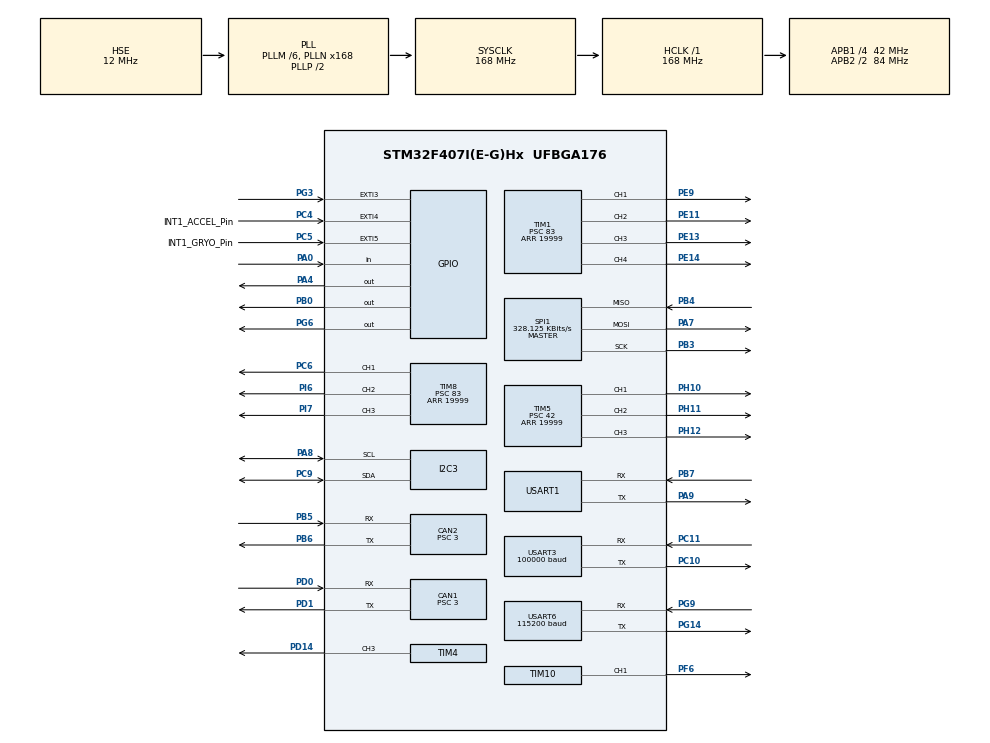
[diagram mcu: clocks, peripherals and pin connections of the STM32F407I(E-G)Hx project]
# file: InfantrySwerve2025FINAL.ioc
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CAN1.BS1=CAN_BS1_10TQ
CAN1.BS2=CAN_BS2_3TQ
CAN1.CalculateBaudRate=1000000
CAN1.CalculateTimeBit=1000
CAN1.CalculateTimeQuantum=71.42857142857143
CAN1.Prescaler=3
CAN2.BS1=CAN_BS1_10TQ
CAN2.BS2=CAN_BS2_3TQ
CAN2.CalculateBaudRate=1000000
CAN2.CalculateTimeBit=1000
CAN2.CalculateTimeQuantum=71.42857142857143
CAN2.Prescaler=3
Dma.Request0=USART3_RX
Dma.Request1=USART1_RX
Dma.Request2=USART6_RX
Dma.USART1_RX.1.Direction=DMA_PERIPH_TO_MEMORY
Dma.USART1_RX.1.FIFOMode=DMA_FIFOMODE_DISABLE
Dma.USART1_RX.1.Instance=DMA2_Stream2
Dma.USART1_RX.1.MemDataAlignment=DMA_MDATAALIGN_BYTE
Dma.USART1_RX.1.MemInc=DMA_MINC_ENABLE
Dma.USART1_RX.1.Mode=DMA_NORMAL
Dma.USART1_RX.1.PeriphDataAlignment=DMA_PDATAALIGN_BYTE
Dma.USART1_RX.1.PeriphInc=DMA_PINC_DISABLE
Dma.USART1_RX.1.Priority=DMA_PRIORITY_VERY_HIGH
Dma.USART3_RX.0.Direction=DMA_PERIPH_TO_MEMORY
Dma.USART3_RX.0.FIFOMode=DMA_FIFOMODE_DISABLE
Dma.USART3_RX.0.Instance=DMA1_Stream1
Dma.USART3_RX.0.MemDataAlignment=DMA_MDATAALIGN_BYTE
Dma.USART3_RX.0.MemInc=DMA_MINC_ENABLE
Dma.USART3_RX.0.Mode=DMA_CIRCULAR
Dma.USART3_RX.0.PeriphDataAlignment=DMA_PDATAALIGN_BYTE
Dma.USART3_RX.0.PeriphInc=DMA_PINC_DISABLE
Dma.USART3_RX.0.Priority=DMA_PRIORITY_VERY_HIGH
Dma.USART6_RX.2.Direction=DMA_PERIPH_TO_MEMORY
Dma.USART6_RX.2.FIFOMode=DMA_FIFOMODE_DISABLE
Dma.USART6_RX.2.Instance=DMA2_Stream1
Dma.USART6_RX.2.MemDataAlignment=DMA_MDATAALIGN_BYTE
Dma.USART6_RX.2.MemInc=DMA_MINC_ENABLE
Dma.USART6_RX.2.Mode=DMA_NORMAL
Dma.USART6_RX.2.PeriphDataAlignment=DMA_PDATAALIGN_BYTE
Dma.USART6_RX.2.PeriphInc=DMA_PINC_DISABLE
Dma.USART6_RX.2.Priority=DMA_PRIORITY_VERY_HIGH
FREERTOS.INCLUDE_pcTaskGetTaskName=1
FREERTOS.INCLUDE_xTaskGetHandle=1
FREERTOS.Tasks01=FlowManager,48,128,StartFlowManager,Default,NULL,Dynamic,NULL,NULL;IMUtempPIDtask,24,512,imu_temp_control_task,As weak,NULL,Dynamic,NULL,NULL;ChassisTask,24,1024,StartChassisTask,Default,NULL,Dynamic,NULL,NULL;SentryAutonomy,24,128,StartSentryAutonomy,Default,NULL,Dynamic,NULL,NULL
FREERTOS.configUSE_NEWLIB_REENTRANT=1
I2C3.I2C_Mode=I2C_Fast
Mcu.Family=STM32F4
Mcu.Name=STM32F407I(E-G)Hx
Mcu.Package=UFBGA176
NVIC.CAN1_RX0_IRQn=true\:5\:0\:false\:false\:true\:true\:true\:true\:true
NVIC.CAN2_RX0_IRQn=true\:5\:0\:false\:false\:true\:true\:true\:true\:true
NVIC.DMA1_Stream1_IRQn=true\:5\:0\:false\:false\:true\:true\:false\:true\:true
NVIC.DMA2_Stream1_IRQn=true\:5\:0\:false\:false\:true\:true\:false\:true\:true
NVIC.DMA2_Stream2_IRQn=true\:5\:0\:false\:false\:true\:true\:false\:true\:true
NVIC.EXTI3_IRQn=true\:5\:0\:false\:false\:true\:true\:true\:true\:true
NVIC.EXTI4_IRQn=true\:5\:0\:false\:false\:true\:true\:true\:true\:true
NVIC.PriorityGroup=NVIC_PRIORITYGROUP_4
NVIC.USART1_IRQn=true\:5\:0\:false\:false\:true\:true\:true\:true\:true
NVIC.USART6_IRQn=true\:5\:0\:false\:false\:true\:true\:true\:true\:true
PA0-WKUP.Signal=GPIO_Input
PA13.Mode=Serial_Wire
PA13.Signal=SYS_JTMS-SWDIO
PA14.Mode=Serial_Wire
PA14.Signal=SYS_JTCK-SWCLK
PA4.Signal=GPIO_Output
PA7.Mode=Full_Duplex_Master
PA7.Signal=SPI1_MOSI
PA8.Mode=I2C
PA8.Signal=I2C3_SCL
PA9.Mode=Asynchronous
PA9.Signal=USART1_TX
PB0.Signal=GPIO_Output
PB3.Mode=Full_Duplex_Master
PB3.Signal=SPI1_SCK
PB4.Mode=Full_Duplex_Master
PB4.Signal=SPI1_MISO
PB5.Mode=CAN_Activate
PB5.Signal=CAN2_RX
PB6.Mode=CAN_Activate
PB6.Signal=CAN2_TX
PB7.Mode=Asynchronous
PB7.Signal=USART1_RX
PC10.Mode=Asynchronous
PC10.Signal=USART3_TX
PC11.Mode=Asynchronous
PC11.Signal=USART3_RX
PC4.GPIO_Label=INT1_ACCEL_Pin
PC4.Signal=GPXTI4
PC5.GPIO_Label=INT1_GRYO_Pin
PC5.Signal=GPXTI5
PC6.Signal=S_TIM8_CH1
PC9.Mode=I2C
PC9.Signal=I2C3_SDA
PD0.Mode=CAN_Activate
PD0.Signal=CAN1_RX
PD1.Mode=CAN_Activate
PD1.Signal=CAN1_TX
PD14.Signal=S_TIM4_CH3
PE11.Signal=S_TIM1_CH2
PE13.Signal=S_TIM1_CH3
PE14.Signal=S_TIM1_CH4
PE9.Signal=S_TIM1_CH1
PF6.GPIO_PuPd=GPIO_PULLUP
PF6.GPIO_Speed=GPIO_SPEED_FREQ_HIGH
PF6.Signal=S_TIM10_CH1
PG14.Mode=Asynchronous
PG14.Signal=USART6_TX
PG3.Signal=GPXTI3
PG6.Signal=GPIO_Output
PG9.Mode=Asynchronous
PG9.Signal=USART6_RX
PH0-OSC_IN.Mode=HSE-External-Oscillator
PH0-OSC_IN.Signal=RCC_OSC_IN
PH1-OSC_OUT.Mode=HSE-External-Oscillator
PH1-OSC_OUT.Signal=RCC_OSC_OUT
PH10.Signal=S_TIM5_CH1
PH11.Signal=S_TIM5_CH2
PH12.Signal=S_TIM5_CH3
PI6.Signal=S_TIM8_CH2
PI7.Signal=S_TIM8_CH3
ProjectManager.HeapSize=0x200
ProjectManager.StackSize=0x400
ProjectManager.TargetToolchain=STM32CubeIDE
RCC.48MHZClocksFreq_Value=84000000
RCC.AHBFreq_Value=168000000
RCC.APB1CLKDivider=RCC_HCLK_DIV4
RCC.APB1Freq_Value=42000000
RCC.APB1TimFreq_Value=84000000
RCC.APB2CLKDivider=RCC_HCLK_DIV2
RCC.APB2Freq_Value=84000000
RCC.APB2TimFreq_Value=168000000
RCC.CortexFreq_Value=168000000
RCC.EnbaleCSS=true
RCC.HCLKFreq_Value=168000000
RCC.HSE_VALUE=12000000
RCC.HSI_VALUE=16000000
RCC.LSE_VALUE=32768
RCC.PLLM=6
RCC.PLLN=168
RCC.PLLSourceVirtual=RCC_PLLSOURCE_HSE
RCC.SYSCLKFreq_VALUE=168000000
RCC.SYSCLKSource=RCC_SYSCLKSOURCE_PLLCLK
RCC.VCOOutputFreq_Value=336000000
SH.S_TIM10_CH1.0=TIM10_CH1,PWM Generation1 CH1
SH.S_TIM1_CH1.0=TIM1_CH1,PWM Generation1 CH1
SH.S_TIM1_CH2.0=TIM1_CH2,PWM Generation2 CH2
SH.S_TIM1_CH3.0=TIM1_CH3,PWM Generation3 CH3
SH.S_TIM1_CH4.0=TIM1_CH4,PWM Generation4 CH4
SH.S_TIM4_CH3.0=TIM4_CH3,PWM Generation3 CH3
SH.S_TIM5_CH1.0=TIM5_CH1,PWM Generation1 CH1
SH.S_TIM5_CH2.0=TIM5_CH2,PWM Generation2 CH2
SH.S_TIM5_CH3.0=TIM5_CH3,PWM Generation3 CH3
SH.S_TIM8_CH1.0=TIM8_CH1,PWM Generation1 CH1
SH.S_TIM8_CH2.0=TIM8_CH2,PWM Generation2 CH2
SH.S_TIM8_CH3.0=TIM8_CH3,PWM Generation3 CH3
SPI1.BaudRatePrescaler=SPI_BAUDRATEPRESCALER_256
SPI1.CLKPhase=SPI_PHASE_2EDGE
SPI1.CLKPolarity=SPI_POLARITY_HIGH
SPI1.CalculateBaudRate=328.125 KBits/s
SPI1.Direction=SPI_DIRECTION_2LINES
SPI1.Mode=SPI_MODE_MASTER
SPI1.VirtualType=VM_MASTER
TIM1.AutoReloadPreload=TIM_AUTORELOAD_PRELOAD_DISABLE
TIM1.Channel-PWM\ Generation1\ CH1=TIM_CHANNEL_1
TIM1.Channel-PWM\ Generation2\ CH2=TIM_CHANNEL_2
TIM1.Channel-PWM\ Generation3\ CH3=TIM_CHANNEL_3
TIM1.Channel-PWM\ Generation4\ CH4=TIM_CHANNEL_4
TIM1.Period=19999
TIM1.Prescaler=83
TIM1.Pulse-PWM\ Generation1\ CH1=0
TIM10.Channel=TIM_CHANNEL_1
TIM10.Period=4999
TIM4.AutoReloadPreload=TIM_AUTORELOAD_PRELOAD_ENABLE
TIM4.Channel-PWM\ Generation3\ CH3=TIM_CHANNEL_3
TIM4.Period=20999
TIM4.Pulse-PWM\ Generation3\ CH3=10499
TIM5.Channel-PWM\ Generation1\ CH1=TIM_CHANNEL_1
TIM5.Channel-PWM\ Generation2\ CH2=TIM_CHANNEL_2
TIM5.Channel-PWM\ Generation3\ CH3=TIM_CHANNEL_3
TIM5.Period=19999
TIM5.Prescaler=42
TIM8.AutoReloadPreload=TIM_AUTORELOAD_PRELOAD_ENABLE
TIM8.Channel-PWM\ Generation1\ CH1=TIM_CHANNEL_1
TIM8.Channel-PWM\ Generation2\ CH2=TIM_CHANNEL_2
TIM8.Channel-PWM\ Generation3\ CH3=TIM_CHANNEL_3
TIM8.Period=19999
TIM8.Prescaler=83
USART1.VirtualMode=VM_ASYNC
USART3.BaudRate=100000
USART3.Parity=PARITY_EVEN
USART3.VirtualMode=VM_ASYNC
USART6.BaudRate=115200
USART6.VirtualMode=VM_ASYNC
VP_FREERTOS_VS_CMSIS_V2.Mode=CMSIS_V2
VP_TIM10_VS_ClockSourceINT.Mode=Enable_Timer
VP_TIM4_VS_ClockSourceINT.Mode=Internal
board=custom

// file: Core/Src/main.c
/* USER CODE BEGIN Header */
/**
  ******************************************************************************
  * @file           : main.c
  * @brief          : Main program body
  ******************************************************************************
  * @attention
  *
  * Copyright (c) 2025 STMicroelectronics.
  * All rights reserved.
  *
  * This software is licensed under terms that can be found in the LICENSE file
  * in the root directory of this software component.
  * If no LICENSE file comes with this software, it is provided AS-IS.
  *
  ******************************************************************************
  */
/* USER CODE END Header */
#include "main.h"
#include "cmsis_os.h"

/* USER CODE BEGIN Includes */
#include "UART_RM25.h"
#include "DBUS.h"
// #include "CC_Handler.h"
#include "CAN.h"
#include "CAL_RM25.h"

#include "BMI088driver.h"
#include "BMI088Middleware.h"
#include "BMI088reg.h"
#include "SWERVE.h"
#include "SwerveBuffer.h"
/* USER CODE END Includes */

CAN_HandleTypeDef hcan1;
CAN_HandleTypeDef hcan2;

I2C_HandleTypeDef hi2c3;

SPI_HandleTypeDef hspi1;

TIM_HandleTypeDef htim1;
TIM_HandleTypeDef htim4;
TIM_HandleTypeDef htim5;
TIM_HandleTypeDef htim8;
TIM_HandleTypeDef htim10;

UART_HandleTypeDef huart1;
UART_HandleTypeDef huart3;
UART_HandleTypeDef huart6;
DMA_HandleTypeDef hdma_usart1_rx;
DMA_HandleTypeDef hdma_usart3_rx;
DMA_HandleTypeDef hdma_usart6_rx;

/* Definitions for FlowManager */
osThreadId_t FlowManagerHandle;
const osThreadAttr_t FlowManager_attributes = {
  .name = "FlowManager",
  .stack_size = 128 * 4,
  .priority = (osPriority_t) osPriorityRealtime,
};
/* Definitions for IMUtempPIDtask */
osThreadId_t IMUtempPIDtaskHandle;
const osThreadAttr_t IMUtempPIDtask_attributes = {
  .name = "IMUtempPIDtask",
  .stack_size = 512 * 4,
  .priority = (osPriority_t) osPriorityNormal,
};
/* Definitions for ChassisTask */
osThreadId_t ChassisTaskHandle;
const osThreadAttr_t ChassisTask_attributes = {
  .name = "ChassisTask",
  .stack_size = 1024 * 4,
  .priority = (osPriority_t) osPriorityNormal,
};
/* Definitions for SentryAutonomy */
osThreadId_t SentryAutonomyHandle;
const osThreadAttr_t SentryAutonomy_attributes = {
  .name = "SentryAutonomy",
  .stack_size = 128 * 4,
  .priority = (osPriority_t) osPriorityNormal,
};

void SystemClock_Config(void);
static void MX_GPIO_Init(void);
static void MX_DMA_Init(void);
static void MX_CAN1_Init(void);
static void MX_CAN2_Init(void);
static void MX_SPI1_Init(void);
static void MX_TIM4_Init(void);
static void MX_USART1_UART_Init(void);
static void MX_USART6_UART_Init(void);
static void MX_TIM1_Init(void);
static void MX_TIM8_Init(void);
static void MX_USART3_UART_Init(void);
static void MX_TIM10_Init(void);
static void MX_I2C3_Init(void);
static void MX_TIM5_Init(void);
void StartFlowManager(void *argument);
void imu_temp_control_task(void *argument);
void StartChassisTask(void *argument);
void StartSentryAutonomy(void *argument);

int main(void)
{

  /* MCU Configuration--------------------------------------------------------*/

  /* Reset of all peripherals, Initializes the Flash interface and the Systick. */
  HAL_Init();

  /* Configure the system clock */
  SystemClock_Config();

  /* Initialize all configured peripherals */
  MX_GPIO_Init();
  MX_DMA_Init();
  MX_CAN1_Init();
  MX_CAN2_Init();
  MX_SPI1_Init();
  MX_TIM4_Init();
  MX_USART1_UART_Init();
  MX_USART6_UART_Init();
  MX_TIM1_Init();
  MX_TIM8_Init();
  MX_USART3_UART_Init();
  MX_TIM10_Init();
  MX_I2C3_Init();
  MX_TIM5_Init();

  /* Init scheduler */
  osKernelInitialize();

  /* Create the thread(s) */
  /* creation of FlowManager */
  FlowManagerHandle = osThreadNew(StartFlowManager, NULL, &FlowManager_attributes);

  /* creation of IMUtempPIDtask */
  IMUtempPIDtaskHandle = osThreadNew(imu_temp_control_task, NULL, &IMUtempPIDtask_attributes);

  /* creation of ChassisTask */
  ChassisTaskHandle = osThreadNew(StartChassisTask, NULL, &ChassisTask_attributes);

  /* creation of SentryAutonomy */
  SentryAutonomyHandle = osThreadNew(StartSentryAutonomy, NULL, &SentryAutonomy_attributes);

  /* Start scheduler */
  osKernelStart();

  /* We should never get here as control is now taken by the scheduler */

  /* Infinite loop */
  while (1)
  {

  }
}

void SystemClock_Config(void)
{
  RCC_OscInitTypeDef RCC_OscInitStruct = {0};
  RCC_ClkInitTypeDef RCC_ClkInitStruct = {0};

  /** Configure the main internal regulator output voltage
  */
  __HAL_RCC_PWR_CLK_ENABLE();
  __HAL_PWR_VOLTAGESCALING_CONFIG(PWR_REGULATOR_VOLTAGE_SCALE1);

  /** Initializes the RCC Oscillators according to the specified parameters
  * in the RCC_OscInitTypeDef structure.
  */
  RCC_OscInitStruct.OscillatorType = RCC_OSCILLATORTYPE_HSE;
  RCC_OscInitStruct.HSEState = RCC_HSE_ON;
  RCC_OscInitStruct.PLL.PLLState = RCC_PLL_ON;
  RCC_OscInitStruct.PLL.PLLSource = RCC_PLLSOURCE_HSE;
  RCC_OscInitStruct.PLL.PLLM = 6;
  RCC_OscInitStruct.PLL.PLLN = 168;
  RCC_OscInitStruct.PLL.PLLP = RCC_PLLP_DIV2;
  RCC_OscInitStruct.PLL.PLLQ = 4;
  if (HAL_RCC_OscConfig(&RCC_OscInitStruct) != HAL_OK)
  {
    Error_Handler();
  }

  /** Initializes the CPU, AHB and APB buses clocks
  */
  RCC_ClkInitStruct.ClockType = RCC_CLOCKTYPE_HCLK|RCC_CLOCKTYPE_SYSCLK
                              |RCC_CLOCKTYPE_PCLK1|RCC_CLOCKTYPE_PCLK2;
  RCC_ClkInitStruct.SYSCLKSource = RCC_SYSCLKSOURCE_PLLCLK;
  RCC_ClkInitStruct.AHBCLKDivider = RCC_SYSCLK_DIV1;
  RCC_ClkInitStruct.APB1CLKDivider = RCC_HCLK_DIV4;
  RCC_ClkInitStruct.APB2CLKDivider = RCC_HCLK_DIV2;

  if (HAL_RCC_ClockConfig(&RCC_ClkInitStruct, FLASH_LATENCY_5) != HAL_OK)
  {
    Error_Handler();
  }

  /** Enables the Clock Security System
  */
  HAL_RCC_EnableCSS();
}

static void MX_CAN1_Init(void)
{

  hcan1.Instance = CAN1;
  hcan1.Init.Prescaler = 3;
  hcan1.Init.Mode = CAN_MODE_NORMAL;
  hcan1.Init.SyncJumpWidth = CAN_SJW_1TQ;
  hcan1.Init.TimeSeg1 = CAN_BS1_10TQ;
  hcan1.Init.TimeSeg2 = CAN_BS2_3TQ;
  hcan1.Init.TimeTriggeredMode = DISABLE;
  hcan1.Init.AutoBusOff = DISABLE;
  hcan1.Init.AutoWakeUp = DISABLE;
  hcan1.Init.AutoRetransmission = DISABLE;
  hcan1.Init.ReceiveFifoLocked = DISABLE;
  hcan1.Init.TransmitFifoPriority = DISABLE;
  if (HAL_CAN_Init(&hcan1) != HAL_OK)
  {
    Error_Handler();
  }

}

static void MX_CAN2_Init(void)
{

  hcan2.Instance = CAN2;
  hcan2.Init.Prescaler = 3;
  hcan2.Init.Mode = CAN_MODE_NORMAL;
  hcan2.Init.SyncJumpWidth = CAN_SJW_1TQ;
  hcan2.Init.TimeSeg1 = CAN_BS1_10TQ;
  hcan2.Init.TimeSeg2 = CAN_BS2_3TQ;
  hcan2.Init.TimeTriggeredMode = DISABLE;
  hcan2.Init.AutoBusOff = DISABLE;
  hcan2.Init.AutoWakeUp = DISABLE;
  hcan2.Init.AutoRetransmission = DISABLE;
  hcan2.Init.ReceiveFifoLocked = DISABLE;
  hcan2.Init.TransmitFifoPriority = DISABLE;
  if (HAL_CAN_Init(&hcan2) != HAL_OK)
  {
    Error_Handler();
  }

}

static void MX_I2C3_Init(void)
{

  hi2c3.Instance = I2C3;
  hi2c3.Init.ClockSpeed = 400000;
  hi2c3.Init.DutyCycle = I2C_DUTYCYCLE_2;
  hi2c3.Init.OwnAddress1 = 0;
  hi2c3.Init.AddressingMode = I2C_ADDRESSINGMODE_7BIT;
  hi2c3.Init.DualAddressMode = I2C_DUALADDRESS_DISABLE;
  hi2c3.Init.OwnAddress2 = 0;
  hi2c3.Init.GeneralCallMode = I2C_GENERALCALL_DISABLE;
  hi2c3.Init.NoStretchMode = I2C_NOSTRETCH_DISABLE;
  if (HAL_I2C_Init(&hi2c3) != HAL_OK)
  {
    Error_Handler();
  }

}

static void MX_SPI1_Init(void)
{

  /* SPI1 parameter configuration*/
  hspi1.Instance = SPI1;
  hspi1.Init.Mode = SPI_MODE_MASTER;
  hspi1.Init.Direction = SPI_DIRECTION_2LINES;
  hspi1.Init.DataSize = SPI_DATASIZE_8BIT;
  hspi1.Init.CLKPolarity = SPI_POLARITY_HIGH;
  hspi1.Init.CLKPhase = SPI_PHASE_2EDGE;
  hspi1.Init.NSS = SPI_NSS_SOFT;
  hspi1.Init.BaudRatePrescaler = SPI_BAUDRATEPRESCALER_256;
  hspi1.Init.FirstBit = SPI_FIRSTBIT_MSB;
  hspi1.Init.TIMode = SPI_TIMODE_DISABLE;
  hspi1.Init.CRCCalculation = SPI_CRCCALCULATION_DISABLE;
  hspi1.Init.CRCPolynomial = 10;
  if (HAL_SPI_Init(&hspi1) != HAL_OK)
  {
    Error_Handler();
  }

}

static void MX_TIM1_Init(void)
{

  TIM_MasterConfigTypeDef sMasterConfig = {0};
  TIM_OC_InitTypeDef sConfigOC = {0};
  TIM_BreakDeadTimeConfigTypeDef sBreakDeadTimeConfig = {0};

  htim1.Instance = TIM1;
  htim1.Init.Prescaler = 83;
  htim1.Init.CounterMode = TIM_COUNTERMODE_UP;
  htim1.Init.Period = 19999;
  htim1.Init.ClockDivision = TIM_CLOCKDIVISION_DIV1;
  htim1.Init.RepetitionCounter = 0;
  htim1.Init.AutoReloadPreload = TIM_AUTORELOAD_PRELOAD_DISABLE;
  if (HAL_TIM_PWM_Init(&htim1) != HAL_OK)
  {
    Error_Handler();
  }
  sMasterConfig.MasterOutputTrigger = TIM_TRGO_RESET;
  sMasterConfig.MasterSlaveMode = TIM_MASTERSLAVEMODE_DISABLE;
  if (HAL_TIMEx_MasterConfigSynchronization(&htim1, &sMasterConfig) != HAL_OK)
  {
    Error_Handler();
  }
  sConfigOC.OCMode = TIM_OCMODE_PWM1;
  sConfigOC.Pulse = 0;
  sConfigOC.OCPolarity = TIM_OCPOLARITY_HIGH;
  sConfigOC.OCNPolarity = TIM_OCNPOLARITY_HIGH;
  sConfigOC.OCFastMode = TIM_OCFAST_DISABLE;
  sConfigOC.OCIdleState = TIM_OCIDLESTATE_RESET;
  sConfigOC.OCNIdleState = TIM_OCNIDLESTATE_RESET;
  if (HAL_TIM_PWM_ConfigChannel(&htim1, &sConfigOC, TIM_CHANNEL_1) != HAL_OK)
  {
    Error_Handler();
  }
  if (HAL_TIM_PWM_ConfigChannel(&htim1, &sConfigOC, TIM_CHANNEL_2) != HAL_OK)
  {
    Error_Handler();
  }
  if (HAL_TIM_PWM_ConfigChannel(&htim1, &sConfigOC, TIM_CHANNEL_3) != HAL_OK)
  {
    Error_Handler();
  }
  if (HAL_TIM_PWM_ConfigChannel(&htim1, &sConfigOC, TIM_CHANNEL_4) != HAL_OK)
  {
    Error_Handler();
  }
  sBreakDeadTimeConfig.OffStateRunMode = TIM_OSSR_DISABLE;
  sBreakDeadTimeConfig.OffStateIDLEMode = TIM_OSSI_DISABLE;
  sBreakDeadTimeConfig.LockLevel = TIM_LOCKLEVEL_OFF;
  sBreakDeadTimeConfig.DeadTime = 0;
  sBreakDeadTimeConfig.BreakState = TIM_BREAK_DISABLE;
  sBreakDeadTimeConfig.BreakPolarity = TIM_BREAKPOLARITY_HIGH;
  sBreakDeadTimeConfig.AutomaticOutput = TIM_AUTOMATICOUTPUT_DISABLE;
  if (HAL_TIMEx_ConfigBreakDeadTime(&htim1, &sBreakDeadTimeConfig) != HAL_OK)
  {
    Error_Handler();
  }
  HAL_TIM_MspPostInit(&htim1);

}

static void MX_TIM4_Init(void)
{

  TIM_ClockConfigTypeDef sClockSourceConfig = {0};
  TIM_MasterConfigTypeDef sMasterConfig = {0};
  TIM_OC_InitTypeDef sConfigOC = {0};

  htim4.Instance = TIM4;
  htim4.Init.Prescaler = 0;
  htim4.Init.CounterMode = TIM_COUNTERMODE_UP;
  htim4.Init.Period = 20999;
  htim4.Init.ClockDivision = TIM_CLOCKDIVISION_DIV1;
  htim4.Init.AutoReloadPreload = TIM_AUTORELOAD_PRELOAD_ENABLE;
  if (HAL_TIM_Base_Init(&htim4) != HAL_OK)
  {
    Error_Handler();
  }
  sClockSourceConfig.ClockSource = TIM_CLOCKSOURCE_INTERNAL;
  if (HAL_TIM_ConfigClockSource(&htim4, &sClockSourceConfig) != HAL_OK)
  {
    Error_Handler();
  }
  if (HAL_TIM_PWM_Init(&htim4) != HAL_OK)
  {
    Error_Handler();
  }
  sMasterConfig.MasterOutputTrigger = TIM_TRGO_RESET;
  sMasterConfig.MasterSlaveMode = TIM_MASTERSLAVEMODE_DISABLE;
  if (HAL_TIMEx_MasterConfigSynchronization(&htim4, &sMasterConfig) != HAL_OK)
  {
    Error_Handler();
  }
  sConfigOC.OCMode = TIM_OCMODE_PWM1;
  sConfigOC.Pulse = 10499;
  sConfigOC.OCPolarity = TIM_OCPOLARITY_HIGH;
  sConfigOC.OCFastMode = TIM_OCFAST_DISABLE;
  if (HAL_TIM_PWM_ConfigChannel(&htim4, &sConfigOC, TIM_CHANNEL_3) != HAL_OK)
  {
    Error_Handler();
  }
  HAL_TIM_MspPostInit(&htim4);

}

static void MX_TIM5_Init(void)
{

  TIM_MasterConfigTypeDef sMasterConfig = {0};
  TIM_OC_InitTypeDef sConfigOC = {0};

  htim5.Instance = TIM5;
  htim5.Init.Prescaler = 42;
  htim5.Init.CounterMode = TIM_COUNTERMODE_UP;
  htim5.Init.Period = 19999;
  htim5.Init.ClockDivision = TIM_CLOCKDIVISION_DIV1;
  htim5.Init.AutoReloadPreload = TIM_AUTORELOAD_PRELOAD_DISABLE;
  if (HAL_TIM_PWM_Init(&htim5) != HAL_OK)
  {
    Error_Handler();
  }
  sMasterConfig.MasterOutputTrigger = TIM_TRGO_RESET;
  sMasterConfig.MasterSlaveMode = TIM_MASTERSLAVEMODE_DISABLE;
  if (HAL_TIMEx_MasterConfigSynchronization(&htim5, &sMasterConfig) != HAL_OK)
  {
    Error_Handler();
  }
  sConfigOC.OCMode = TIM_OCMODE_PWM1;
  sConfigOC.Pulse = 0;
  sConfigOC.OCPolarity = TIM_OCPOLARITY_HIGH;
  sConfigOC.OCFastMode = TIM_OCFAST_DISABLE;
  if (HAL_TIM_PWM_ConfigChannel(&htim5, &sConfigOC, TIM_CHANNEL_1) != HAL_OK)
  {
    Error_Handler();
  }
  if (HAL_TIM_PWM_ConfigChannel(&htim5, &sConfigOC, TIM_CHANNEL_2) != HAL_OK)
  {
    Error_Handler();
  }
  if (HAL_TIM_PWM_ConfigChannel(&htim5, &sConfigOC, TIM_CHANNEL_3) != HAL_OK)
  {
    Error_Handler();
  }
  HAL_TIM_MspPostInit(&htim5);

}

static void MX_TIM8_Init(void)
{

  TIM_MasterConfigTypeDef sMasterConfig = {0};
  TIM_OC_InitTypeDef sConfigOC = {0};
  TIM_BreakDeadTimeConfigTypeDef sBreakDeadTimeConfig = {0};

  htim8.Instance = TIM8;
  htim8.Init.Prescaler = 83;
  htim8.Init.CounterMode = TIM_COUNTERMODE_UP;
  htim8.Init.Period = 19999;
  htim8.Init.ClockDivision = TIM_CLOCKDIVISION_DIV1;
  htim8.Init.RepetitionCounter = 0;
  htim8.Init.AutoReloadPreload = TIM_AUTORELOAD_PRELOAD_ENABLE;
  if (HAL_TIM_PWM_Init(&htim8) != HAL_OK)
  {
    Error_Handler();
  }
  sMasterConfig.MasterOutputTrigger = TIM_TRGO_RESET;
  sMasterConfig.MasterSlaveMode = TIM_MASTERSLAVEMODE_DISABLE;
  if (HAL_TIMEx_MasterConfigSynchronization(&htim8, &sMasterConfig) != HAL_OK)
  {
    Error_Handler();
  }
  sConfigOC.OCMode = TIM_OCMODE_PWM1;
  sConfigOC.Pulse = 0;
  sConfigOC.OCPolarity = TIM_OCPOLARITY_HIGH;
  sConfigOC.OCNPolarity = TIM_OCNPOLARITY_HIGH;
  sConfigOC.OCFastMode = TIM_OCFAST_DISABLE;
  sConfigOC.OCIdleState = TIM_OCIDLESTATE_RESET;
  sConfigOC.OCNIdleState = TIM_OCNIDLESTATE_RESET;
  if (HAL_TIM_PWM_ConfigChannel(&htim8, &sConfigOC, TIM_CHANNEL_1) != HAL_OK)
  {
    Error_Handler();
  }
  if (HAL_TIM_PWM_ConfigChannel(&htim8, &sConfigOC, TIM_CHANNEL_2) != HAL_OK)
  {
    Error_Handler();
  }
  if (HAL_TIM_PWM_ConfigChannel(&htim8, &sConfigOC, TIM_CHANNEL_3) != HAL_OK)
  {
    Error_Handler();
  }
  sBreakDeadTimeConfig.OffStateRunMode = TIM_OSSR_DISABLE;
  sBreakDeadTimeConfig.OffStateIDLEMode = TIM_OSSI_DISABLE;
  sBreakDeadTimeConfig.LockLevel = TIM_LOCKLEVEL_OFF;
  sBreakDeadTimeConfig.DeadTime = 0;
  sBreakDeadTimeConfig.BreakState = TIM_BREAK_DISABLE;
  sBreakDeadTimeConfig.BreakPolarity = TIM_BREAKPOLARITY_HIGH;
  sBreakDeadTimeConfig.AutomaticOutput = TIM_AUTOMATICOUTPUT_DISABLE;
  if (HAL_TIMEx_ConfigBreakDeadTime(&htim8, &sBreakDeadTimeConfig) != HAL_OK)
  {
    Error_Handler();
  }
  HAL_TIM_MspPostInit(&htim8);

}

static void MX_TIM10_Init(void)
{

  TIM_OC_InitTypeDef sConfigOC = {0};

  htim10.Instance = TIM10;
  htim10.Init.Prescaler = 0;
  htim10.Init.CounterMode = TIM_COUNTERMODE_UP;
  htim10.Init.Period = 4999;
  htim10.Init.ClockDivision = TIM_CLOCKDIVISION_DIV1;
  htim10.Init.AutoReloadPreload = TIM_AUTORELOAD_PRELOAD_DISABLE;
  if (HAL_TIM_Base_Init(&htim10) != HAL_OK)
  {
    Error_Handler();
  }
  if (HAL_TIM_PWM_Init(&htim10) != HAL_OK)
  {
    Error_Handler();
  }
  sConfigOC.OCMode = TIM_OCMODE_PWM1;
  sConfigOC.Pulse = 0;
  sConfigOC.OCPolarity = TIM_OCPOLARITY_HIGH;
  sConfigOC.OCFastMode = TIM_OCFAST_DISABLE;
  if (HAL_TIM_PWM_ConfigChannel(&htim10, &sConfigOC, TIM_CHANNEL_1) != HAL_OK)
  {
    Error_Handler();
  }
  HAL_TIM_MspPostInit(&htim10);

}

static void MX_USART1_UART_Init(void)
{

  huart1.Instance = USART1;
  huart1.Init.BaudRate = 115200;
  huart1.Init.WordLength = UART_WORDLENGTH_8B;
  huart1.Init.StopBits = UART_STOPBITS_1;
  huart1.Init.Parity = UART_PARITY_NONE;
  huart1.Init.Mode = UART_MODE_TX_RX;
  huart1.Init.HwFlowCtl = UART_HWCONTROL_NONE;
  huart1.Init.OverSampling = UART_OVERSAMPLING_16;
  if (HAL_UART_Init(&huart1) != HAL_OK)
  {
    Error_Handler();
  }

}

static void MX_USART3_UART_Init(void)
{

  huart3.Instance = USART3;
  huart3.Init.BaudRate = 100000;
  huart3.Init.WordLength = UART_WORDLENGTH_8B;
  huart3.Init.StopBits = UART_STOPBITS_1;
  huart3.Init.Parity = UART_PARITY_EVEN;
  huart3.Init.Mode = UART_MODE_TX_RX;
  huart3.Init.HwFlowCtl = UART_HWCONTROL_NONE;
  huart3.Init.OverSampling = UART_OVERSAMPLING_16;
  if (HAL_UART_Init(&huart3) != HAL_OK)
  {
    Error_Handler();
  }

}

static void MX_USART6_UART_Init(void)
{

  huart6.Instance = USART6;
  huart6.Init.BaudRate = 115200;
  huart6.Init.WordLength = UART_WORDLENGTH_8B;
  huart6.Init.StopBits = UART_STOPBITS_1;
  huart6.Init.Parity = UART_PARITY_NONE;
  huart6.Init.Mode = UART_MODE_TX_RX;
  huart6.Init.HwFlowCtl = UART_HWCONTROL_NONE;
  huart6.Init.OverSampling = UART_OVERSAMPLING_16;
  if (HAL_UART_Init(&huart6) != HAL_OK)
  {
    Error_Handler();
  }

}

static void MX_DMA_Init(void)
{

  /* DMA controller clock enable */
  __HAL_RCC_DMA1_CLK_ENABLE();
  __HAL_RCC_DMA2_CLK_ENABLE();

  /* DMA interrupt init */
  /* DMA1_Stream1_IRQn interrupt configuration */
  HAL_NVIC_SetPriority(DMA1_Stream1_IRQn, 5, 0);
  HAL_NVIC_EnableIRQ(DMA1_Stream1_IRQn);
  /* DMA2_Stream1_IRQn interrupt configuration */
  HAL_NVIC_SetPriority(DMA2_Stream1_IRQn, 5, 0);
  HAL_NVIC_EnableIRQ(DMA2_Stream1_IRQn);
  /* DMA2_Stream2_IRQn interrupt configuration */
  HAL_NVIC_SetPriority(DMA2_Stream2_IRQn, 5, 0);
  HAL_NVIC_EnableIRQ(DMA2_Stream2_IRQn);

}

static void MX_GPIO_Init(void)
{
  GPIO_InitTypeDef GPIO_InitStruct = {0};

  /* GPIO Ports Clock Enable */
  __HAL_RCC_GPIOB_CLK_ENABLE();
  __HAL_RCC_GPIOG_CLK_ENABLE();
  __HAL_RCC_GPIOA_CLK_ENABLE();
  __HAL_RCC_GPIOD_CLK_ENABLE();
  __HAL_RCC_GPIOC_CLK_ENABLE();
  __HAL_RCC_GPIOI_CLK_ENABLE();
  __HAL_RCC_GPIOH_CLK_ENABLE();
  __HAL_RCC_GPIOF_CLK_ENABLE();
  __HAL_RCC_GPIOE_CLK_ENABLE();

  /*Configure GPIO pin Output Level */
  HAL_GPIO_WritePin(GPIOG, GPIO_PIN_6, GPIO_PIN_RESET);

  /*Configure GPIO pin Output Level */
  HAL_GPIO_WritePin(GPIOA, GPIO_PIN_4, GPIO_PIN_RESET);

  /*Configure GPIO pin Output Level */
  HAL_GPIO_WritePin(GPIOB, GPIO_PIN_0, GPIO_PIN_RESET);

  /*Configure GPIO pin : PG6 */
  GPIO_InitStruct.Pin = GPIO_PIN_6;
  GPIO_InitStruct.Mode = GPIO_MODE_OUTPUT_PP;
  GPIO_InitStruct.Pull = GPIO_NOPULL;
  GPIO_InitStruct.Speed = GPIO_SPEED_FREQ_LOW;
  HAL_GPIO_Init(GPIOG, &GPIO_InitStruct);

  /*Configure GPIO pin : PG3 */
  GPIO_InitStruct.Pin = GPIO_PIN_3;
  GPIO_InitStruct.Mode = GPIO_MODE_IT_RISING;
  GPIO_InitStruct.Pull = GPIO_NOPULL;
  HAL_GPIO_Init(GPIOG, &GPIO_InitStruct);

  /*Configure GPIO pin : PA0 */
  GPIO_InitStruct.Pin = GPIO_PIN_0;
  GPIO_InitStruct.Mode = GPIO_MODE_INPUT;
  GPIO_InitStruct.Pull = GPIO_NOPULL;
  HAL_GPIO_Init(GPIOA, &GPIO_InitStruct);

  /*Configure GPIO pin : PA4 */
  GPIO_InitStruct.Pin = GPIO_PIN_4;
  GPIO_InitStruct.Mode = GPIO_MODE_OUTPUT_PP;
  GPIO_InitStruct.Pull = GPIO_NOPULL;
  GPIO_InitStruct.Speed = GPIO_SPEED_FREQ_LOW;
  HAL_GPIO_Init(GPIOA, &GPIO_InitStruct);

  /*Configure GPIO pins : INT1_ACCEL_Pin_Pin INT1_GRYO_Pin_Pin */
  GPIO_InitStruct.Pin = INT1_ACCEL_Pin_Pin|INT1_GRYO_Pin_Pin;
  GPIO_InitStruct.Mode = GPIO_MODE_IT_RISING;
  GPIO_InitStruct.Pull = GPIO_NOPULL;
  HAL_GPIO_Init(GPIOC, &GPIO_InitStruct);

  /*Configure GPIO pin : PB0 */
  GPIO_InitStruct.Pin = GPIO_PIN_0;
  GPIO_InitStruct.Mode = GPIO_MODE_OUTPUT_PP;
  GPIO_InitStruct.Pull = GPIO_NOPULL;
  GPIO_InitStruct.Speed = GPIO_SPEED_FREQ_LOW;
  HAL_GPIO_Init(GPIOB, &GPIO_InitStruct);

  /* EXTI interrupt init*/
  HAL_NVIC_SetPriority(EXTI3_IRQn, 5, 0);
  HAL_NVIC_EnableIRQ(EXTI3_IRQn);

  HAL_NVIC_SetPriority(EXTI4_IRQn, 5, 0);
  HAL_NVIC_EnableIRQ(EXTI4_IRQn);

}

void StartFlowManager(void *argument)
{
  /* USER CODE BEGIN 5 */
	uint8_t iCount = 0;

	DBUS_Rx_Init(&huart3);

	UART_Ex_Init(&huart1);
	UART_Ex_Init(&huart6);
	CAN_Init();
	BMI088_gyro_init();
  /* Infinite loop */
  for(;;)
  {
	  DBUS_Update();

	  // UART_Printf(&huart1, "%d %d\r\n", CAL_getBufferEnergy(), CAL_getPowerLimit());

	  if(iCount%3==0){
		  CAL_Update();
	  }

	  //UART_Printf(&huart6,"DBUS Check: %d %d \n", getDR16_W(),getCC_W());
	  //UART_Printfmt(&huart6,"%d \n",getDR16_CH1());

	  if(iCount<255){
		  iCount++;
	  }else{
		  iCount = 0;
	  }
	  osDelay(1);
  }
  /* USER CODE END 5 */
}

__weak void imu_temp_control_task(void *argument)
{
  for(;;)
  {
    osDelay(1);
  }
}

/* USER CODE BEGIN Header_StartChassisTask */
/*
* @brief Function implementing the ChassisTask thread.
* @param argument: Not used
* @retval None
*/
/* USER CODE END Header_StartChassisTask */
void StartChassisTask(void *argument)
{
  /* USER CODE BEGIN StartChassisTask */
	PID_preset_t test = {5.0, 0.0, 0.0};
	int16_t axis[3] = {0, 0, 0};
  /* Infinite loop */
  for(;;)
  {
	  axis[0] = CAL_getFrontBack();
	  axis[1] = CAL_getRightLeft();
	  axis[2] = CAL_getChassisSpin();
	  AllBufferCalculations(CAL_getBufferEnergy(), 0, axis);
	  UART_Printf(&huart1, "%f\r\n", CAL_getInitialSpeed());
	  // UART_Printf(&huart1, "%d %d %d\r\n",axis[0], axis[1], axis[2]);
	  // setMotorRPM(Bus1, GM6020, 1, axis[0]*10, test);
	  // UART_Printf(&huart1, "%d %d %d %d\r\n",getRotorPosition(Bus1, GM6020, 1)-2754, getRotorPosition(Bus1, GM6020, 2)-6880, getRotorPosition(Bus1, GM6020, 3)-128, getRotorPosition(Bus1, GM6020, 4)-4880);
	  // UART_Printf(&huart1, "%d, %d\r\n", CAL_getTurretSpin(), getRotorPosition(Bus2, GM6020, 5));
	  Loop(axis, getRotorPosition(Bus2, GM6020, 5));
    osDelay(5);
  }
  /* USER CODE END StartChassisTask */
}

void StartSentryAutonomy(void *argument)
{
  /* USER CODE BEGIN StartSentryAutonomy */
  /* Infinite loop */
  for(;;)
  {
    osDelay(5);
  }
  /* USER CODE END StartSentryAutonomy */
}

void Error_Handler(void)
{
  __disable_irq();
  while (1)
  {
  }
}
